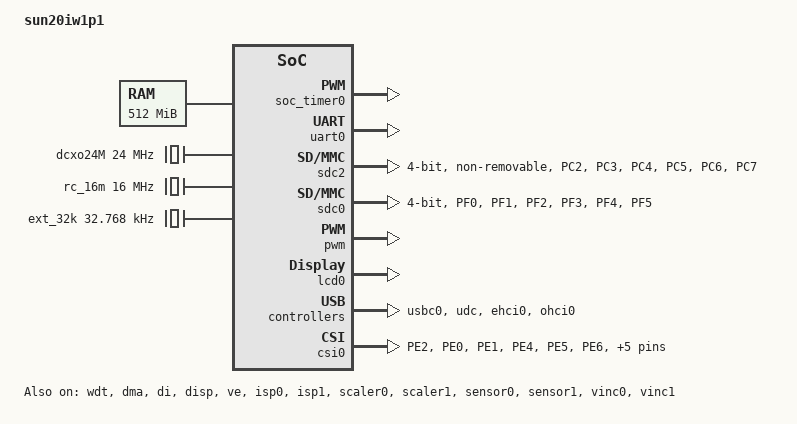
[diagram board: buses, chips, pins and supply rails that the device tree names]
// SPDX-License-Identifier: (GPL-2.0+ or MIT)
#include <dt-bindings/clock/sun8iw20-ccu.h>
#include <dt-bindings/clock/sun8iw20-r-ccu.h>
#include <dt-bindings/clock/sun8iw20-rtc.h>
#include <dt-bindings/reset/sun8iw20-ccu.h>
#include <dt-bindings/reset/sun8iw20-r-ccu.h>
#include <dt-bindings/gpio/gpio.h>
#include <dt-bindings/interrupt-controller/irq.h>
#include <dt-bindings/gpio/sun4i-gpio.h>
#include <dt-bindings/thermal/thermal.h>
#include <dt-bindings/spi/sunxi-spi.h>

/ {
	model = "sun20iw1p1";
	compatible = "allwinner,sun20iw1p1";
	#address-cells = <2>;
	#size-cells = <2>;

	aliases {
		serial0 = &uart0;
		serial1 = &uart1;
		serial2 = &uart2;
		serial3 = &uart3;
		serial4 = &uart4;
		serial5 = &uart5;
		sunxi-mmc0 = &sdc0;
		sunxi-mmc2 = &sdc2;
		pwm = &pwm;
		pwm0 = &pwm0;
		pwm1 = &pwm1;
		pwm2 = &pwm2;
		pwm3 = &pwm3;
		pwm4 = &pwm4;
		pwm5 = &pwm5;
		pwm6 = &pwm6;
		pwm7 = &pwm7;
		spi0 = &spi0;
		spi1 = &spi1;
		ir0 = &s_cir0;
		ir1 = &ir1;
		ve0 = &ve;
		twi0 = &twi0;
		twi1 = &twi1;
		twi2 = &twi2;
		twi3 = &twi3;
	} ;

	reserved-memory {
		#address-cells = <2>;
		#size-cells = <2>;
		ranges;

		opensbi {
			reg = <0x0 0x41fc0000 0x0 0x00040000>;
		};

		/*carveout {
			dma-buf;
			reg = <0x0 0x42000000 0x0 0x08000000>;
		};*/
	};

	/* avoid panic when memory-node err(from uboot) */
	memory@40000000 {
		device_type = "memory";
		reg = <0x00000000 0x40000000 0x00000000 0x20000000>;
	};

	cpus {
		#address-cells = <1>;
		#size-cells = <0>;
		timebase-frequency = <24000000>;

		cpu0: cpu@0 {
			device_type = "cpu";
			reg = <0x0>;
			status = "okay";
			compatible = "riscv";
			riscv,isa = "rv64imafdcvsu";
			mmu-type = "riscv,sv39";

			cpu0_intc: interrupt-controller {
				#interrupt-cells = <1>;
				compatible = "riscv,cpu-intc";
				interrupt-controller;
			};
		};
	};

	dcxo24M: dcxo24M_clk {
		#clock-cells = <0>;
		compatible = "fixed-clock";
		clock-frequency = <24000000>;
		clock-output-names = "dcxo24M";
	};

	rc_16m: rc16m_clk {
		#clock-cells = <0>;
		compatible = "fixed-clock";
		clock-frequency = <16000000>;
		clock-accuracy = <300000000>;
		clock-output-names = "rc-16m";
	};

	ext_32k: ext32k_clk {
		#clock-cells = <0>;
		compatible = "fixed-clock";
		clock-frequency = <32768>;
		clock-output-names = "ext-32k";
	};

	soc: soc@3000000 {
		#address-cells = <2>;
		#size-cells = <2>;
		compatible = "simple-bus";
		ranges;
		device_type = "soc";
		dma-noncoherent;

		sid@3006000 {
			compatible = "allwinner,sunxi-sid";
			reg = <0x0 0x03006000 0 0x1000>;
			#address-cells = <1>;
			#size-cells = <1>;
			non-secure-maxoffset = <0x40>;
			non-secure-maxlen = <0x10>;

			secure_status {
				offset = <0xa0>;
				size = <0x4>;
			};
			rotpk {
				offset = <0x140>;
				size = <0x4>;
			};
			chipid {
				offset = <0x200>;
				size = <0x10>;
			};
		};

		sram_ctrl: sram_ctrl@3000000 {
			compatible = "allwinner,sram_ctrl";
			reg = <0x0 0x03000000 0 0x1000>;
			soc_ver {
				offset = <0x24>;
				mask = <0x7>;
				shift = <0>;
			};
		};

		rtc_ccu: rtc_ccu@7090000 {
			compatible = "allwinner,sun20iw1-rtc-ccu";
			device_type = "rtc-ccu";
			reg = <0x0 0x07090000 0x0 0x320>;  /* The same as rtc */
			#clock-cells = <1>;
		};

		ccu: clock@2001000 {
			compatible = "allwinner,sun20iw1-ccu";
			reg = <0x0 0x02001000 0x0 0x1000>;
			clocks = <&dcxo24M>, <&rtc_ccu CLK_OSC32K>, <&rtc_ccu CLK_IOSC>;
			clock-names = "hosc", "losc", "iosc";
			#clock-cells = <1>;
			#reset-cells = <1>;
		};

		r_ccu: clock@7010000 {
			compatible = "allwinner,sun20iw1-r-ccu";
			reg = <0x0 0x07010000 0x0 0x240>;
			clocks = <&dcxo24M>, <&rtc_ccu CLK_OSC32K>, <&rtc_ccu CLK_IOSC>,
				 <&ccu CLK_PLL_PERIPH0>;
			clock-names = "hosc", "losc", "iosc", "pll-periph0";
			#clock-cells = <1>;
			#reset-cells = <1>;
		};

		soc_timer0: timer@3008000 {
			compatible = "allwinner,hstimer-v100";
			device_type = "soc_timer";
			reg = <0x0 0x3008000 0x0 0x400>;
			interrupts-extended = <&plic0 71 IRQ_TYPE_LEVEL_HIGH>;
			clocks = <&dcxo24M>, <&ccu CLK_BUS_HSTIMER>;
			clock-names = "parent", "bus";
			resets = <&ccu RST_BUS_HSTIMER>;
		};

		dump_reg: dump_reg@20000 {
			compatible = "allwinner,sunxi-dump-reg";
			reg = <0x0 0x000020000 0x0 0x0004>;
		};

		plic0: interrupt-controller@10000000 {
			compatible = "riscv,plic0";
			#address-cells = <2>;
			#interrupt-cells = <2>;
			interrupt-controller;
			reg = <0x0 0x10000000 0x0 0x4000000>;
			interrupts-extended = <&cpu0_intc 0xffffffff &cpu0_intc 9>;
			reg-names = "control";
			riscv,max-priority = <7>;
			riscv,ndev=<200>;
		};

		uart0: uart@2500000 {
			compatible = "allwinner,sun20i-uart";
			device_type = "uart0";
			reg = <0x0 0x02500000 0x0 0x400>;
			interrupts-extended = <&plic0 18 IRQ_TYPE_LEVEL_HIGH>;
			clocks = <&ccu CLK_BUS_UART0>;
			resets = <&ccu RST_BUS_UART0>;
			sunxi,uart-fifosize = <64>;
			uart0_port = <0>;
			uart0_type = <2>;
		};

		uart1: uart@2500400 {
			compatible = "allwinner,sun20i-uart";
			device_type = "uart1";
			reg = <0x0 0x02500400 0x0 0x400>;
			interrupts-extended = <&plic0 19 IRQ_TYPE_LEVEL_HIGH>;
			sunxi,uart-fifosize = <256>;
			clocks = <&ccu CLK_BUS_UART1>;
			resets = <&ccu RST_BUS_UART1>;
			uart1_port = <1>;
			uart1_type = <4>;
			status = "disabled";
		};

		uart2: uart@2500800 {
			compatible = "allwinner,sun20i-uart";
			device_type = "uart2";
			reg = <0x0 0x02500800 0x0 0x400>;
			interrupts-extended = <&plic0 20 IRQ_TYPE_LEVEL_HIGH>;
			sunxi,uart-fifosize = <256>;
			clocks = <&ccu CLK_BUS_UART2>;
			resets = <&ccu RST_BUS_UART2>;
			uart2_port = <2>;
			uart2_type = <4>;
			status = "disabled";
		};

		uart3: uart@2500c00 {
			compatible = "allwinner,sun20i-uart";
			device_type = "uart3";
			reg = <0x0 0x02500c00 0x0 0x400>;
			interrupts-extended = <&plic0 21 IRQ_TYPE_LEVEL_HIGH>;
			sunxi,uart-fifosize = <256>;
			clocks = <&ccu CLK_BUS_UART3>;
			resets = <&ccu RST_BUS_UART3>;
			uart3_port = <3>;
			uart3_type = <4>;
			status = "disabled";
		};

		uart4: uart@2501000 {
			compatible = "allwinner,sun20i-uart";
			device_type = "uart4";
			reg = <0x0 0x02501000 0x0 0x400>;
			interrupts-extended = <&plic0 22 IRQ_TYPE_LEVEL_HIGH>;
			sunxi,uart-fifosize = <256>;
			clocks = <&ccu CLK_BUS_UART4>;
			resets = <&ccu RST_BUS_UART4>;
			uart4_port = <4>;
			uart4_type = <2>;
			status = "disabled";
		};

		uart5: uart@2501400 {
			compatible = "allwinner,sun20i-uart";
			device_type = "uart5";
			reg = <0x0 0x02501400 0x0 0x400>;
			interrupts-extended = <&plic0 23 IRQ_TYPE_LEVEL_HIGH>;
			sunxi,uart-fifosize = <256>;
			clocks = <&ccu CLK_BUS_UART5>;
			resets = <&ccu RST_BUS_UART5>;
			uart5_port = <5>;
			uart5_type = <2>;
			status = "disabled";
		};

		rtc: rtc@7090000 {
			compatible = "allwinner,rtc-v201";
			device_type = "rtc";
			wakeup-source;
			reg = <0x0 0x07090000 0x0 0x320>;
			interrupts-extended = <&plic0 144 IRQ_TYPE_LEVEL_HIGH>;
			clocks = <&r_ccu CLK_R_AHB_BUS_RTC>, <&rtc_ccu CLK_RTC_1K>, <&rtc_ccu CLK_RTC_SPI>;
			clock-names = "r-ahb-rtc", "rtc-1k", "rtc-spi";
			resets = <&r_ccu RST_R_AHB_BUS_RTC>;
			gpr_cur_pos = <6>;
			gpr_bootcount_pos = <7>;
		};

		pio: pinctrl@2000000 {
			compatible = "allwinner,sun20iw1-pinctrl";
			reg = <0x0 0x02000000 0x0 0x500>;
			interrupts-extended = <&plic0 85 IRQ_TYPE_LEVEL_HIGH>,
				     <&plic0 87 IRQ_TYPE_LEVEL_HIGH>,
				     <&plic0 89 IRQ_TYPE_LEVEL_HIGH>,
				     <&plic0 91 IRQ_TYPE_LEVEL_HIGH>,
				     <&plic0 93 IRQ_TYPE_LEVEL_HIGH>,
				     <&plic0 95 IRQ_TYPE_LEVEL_HIGH>;
			clocks = <&ccu CLK_APB0>, <&dcxo24M>, <&rtc_ccu CLK_OSC32K>;
			clock-names = "apb", "hosc", "losc";
			gpio-controller;
			#gpio-cells = <3>;
			interrupt-controller;
			#interrupt-cells = <3>;
			#size-cells = <0>;

			sdc0_pins_a: sdc0@0 {
				pins = "PF0", "PF1", "PF2",
						"PF3", "PF4", "PF5";
				function = "sdc0";
				drive-strength = <40>;
				bias-pull-up;
				power-source = <3300>;
			};

			sdc0_pins_b: sdc0@1 {
				pins = "PF0", "PF1", "PF2",
						"PF3", "PF4", "PF5";
				function = "sdc0";
				drive-strength = <40>;
				bias-pull-up;
				power-source = <1800>;
			};

			sdc0_pins_c: sdc0@2 {
				pins = "PF0", "PF1", "PF2",
						"PF3", "PF4", "PF5";
				function = "gpio_in";
				power-source = <3300>;
			};

			/* TODO: add jtag pin */
			sdc0_pins_d: sdc0@3 {
				pins = "PF2", "PF4";
				function = "uart0";
				drive-strength = <10>;
				bias-pull-up;
				power-source = <3300>;
			};

			sdc0_pins_e: sdc0@4 {
				pins = "PF0", "PF1", "PF3",
						"PF5";
				function = "jtag";
				drive-strength = <10>;
				bias-pull-up;
				power-source = <3300>;
			};

			sdc1_pins_a: sdc1@0 {
				pins = "PG0", "PG1", "PG2",
						"PG3", "PG4", "PG5";
				function = "sdc1";
				drive-strength = <40>;
				bias-pull-up;
			};

			sdc1_pins_b: sdc1@1 {
				pins = "PG0", "PG1", "PG2",
						"PG3", "PG4", "PG5";
				function = "gpio_in";
			};

			sdc2_pins_a: sdc2@0 {
				pins = "PC2", "PC3", "PC4",
						"PC5", "PC6", "PC7";
				function = "sdc2";
				drive-strength = <40>;
				bias-pull-up;
			};

			sdc2_pins_b: sdc2@1 {
				pins = "PC2", "PC3", "PC4",
						"PC5", "PC6", "PC7";
				function = "gpio_in";
			};

			csi_mclk0_pins_a: csi_mclk0@0 {
				pins = "PE3";
				function = "csi0";
				drive-strength = <10>;
			};

			csi_mclk0_pins_b: csi_mclk0@1 {
				pins = "PE3";
				function = "gpio_in";
			};

			csi0_pins_a: csi0@0 {
				pins = "PE2", "PE0", "PE1", "PE4", "PE5",
						 "PE6", "PE7", "PE8", "PE9", "PE10", "PE11";
				function = "ncsi0";
				drive-strength = <10>;
			};

			csi0_pins_b: csi0@1 {
				pins = "PE2", "PE0", "PE1", "PE4", "PE5",
						 "PE6", "PE7", "PE8", "PE9", "PE10", "PE11";
				function = "io_disabled";
				drive-strength = <10>;
			};

			lvds0_pins_a: lvds0@0 {
				pins  = "PD0", "PD1", "PD2", "PD3", "PD4", "PD5", "PD6", "PD7", "PD8", "PD9";
				function = "lvds0";
				drive-strength = <30>;
				bias-disable;
			};

			lvds0_pins_b: lvds0@1 {
				pins  = "PD0", "PD1", "PD2", "PD3", "PD4", "PD5", "PD6", "PD7", "PD8", "PD9";
				function = "io_disabled";
				drive-strength = <30>;
				bias-disable;
			};

			lvds1_pins_a: lvds1@0 {
				pins  = "PD10", "PD11", "PD12", "PD13", "PD14", "PD15", "PD16", "PD17", "PD18", "PD19";
				function = "lvds1";
				drive-strength = <30>;
				bias-disable;
			};

			lvds1_pins_b: lvds1@1 {
				pins  = "PD10", "PD11", "PD12", "PD13", "PD14", "PD15", "PD16", "PD17", "PD18", "PD19";
				function = "io_disabled";
				drive-strength = <30>;
				bias-disable;
			};

		};

		wdt: watchdog@20500a0 {
			compatible = "allwinner,sun6i-a31-wdt";
			reg = <0x0 0x20500a0 0x0 0x20>;  /* In Timers Spec */
			status = "okay";
		};

		mbus0:mbus-comtroller@3102000 {
			compatible = "allwinner,sun8iw20-mbus";
			reg = <0x0 0x03102000 0x0 0x1000>;
			#mbus-cells = <1>;
		};

		dma:dma-controller@3002000 {
			compatible = "allwinner,dma-v100";
			reg = <0x0 0x03002000 0x0 0x1000>;
			interrupts-extended = <&plic0 66 IRQ_TYPE_LEVEL_HIGH>;
			clocks = <&ccu CLK_BUS_DMA>, <&ccu CLK_MBUS_DMA>;
			clock-names = "bus", "mbus";
			resets = <&ccu RST_BUS_DMA>;
			dma-channels = <16>;
			dma-requests = <48>;
			#dma-cells = <1>;
			status = "okay";
		};

		di: deinterlace@5400000 {
			compatible = "allwinner,sunxi-deinterlace";
			reg = <0x0 0x05400000 0x0 0x0000ffff>;
			interrupts-extended = <&plic0 104 IRQ_TYPE_LEVEL_HIGH>;
			clocks = <&ccu CLK_DI>, <&ccu CLK_BUS_DI>, <&ccu CLK_PLL_PERIPH0_2X>;
			clock-names = "clk_di", "clk_bus_di", "pll_periph";
			clock-frequency = <300000000>;
			resets = <&ccu RST_BUS_DI>;
			reset-names = "rst_bus_di";

			status = "okay";
		};

		sdc2: sdmmc@4022000 {
			compatible = "allwinner,sunxi-mmc-v4p6x";
			device_type = "sdc2";
			reg = <0x0 0x04022000 0x0 0x1000>;
			interrupts-extended = <&plic0 58 IRQ_TYPE_LEVEL_HIGH>;
			clocks = <&dcxo24M>,
				 <&ccu CLK_PLL_PERIPH0_2X>,
				 <&ccu CLK_MMC2>,
				 <&ccu CLK_BUS_MMC2>;
			clock-names = "osc24m","pll_periph","mmc","ahb";
			resets = <&ccu RST_BUS_MMC2>;
			reset-names = "rst";
			pinctrl-names = "default","sleep";
			pinctrl-0 = <&sdc2_pins_a>;
			pinctrl-1 = <&sdc2_pins_b>;
			bus-width = <4>;
			req-page-count = <2>;
			cap-mmc-highspeed;
			cap-cmd23;
			mmc-cache-ctrl;
			non-removable;
			/*max-frequency = <200000000>;*/
			max-frequency = <50000000>;
			cap-erase;
			mmc-high-capacity-erase-size;
			no-sdio;
			no-sd;
			/*-- speed mode --*/
			/*sm0: DS26_SDR12*/
			/*sm1: HSSDR52_SDR25*/
			/*sm2: HSDDR52_DDR50*/
			/*sm3: HS200_SDR104*/
			/*sm4: HS400*/
			/*-- frequency point --*/
			/*f0: CLK_400K*/
			/*f1: CLK_25M*/
			/*f2: CLK_50M*/
			/*f3: CLK_100M*/
			/*f4: CLK_150M*/
			/*f5: CLK_200M*/

			sdc_tm4_sm0_freq0 = <0>;
			sdc_tm4_sm0_freq1 = <0>;
			sdc_tm4_sm1_freq0 = <0x00000000>;
			sdc_tm4_sm1_freq1 = <0>;
			sdc_tm4_sm2_freq0 = <0x00000000>;
			sdc_tm4_sm2_freq1 = <0>;
			sdc_tm4_sm3_freq0 = <0x05000000>;
			sdc_tm4_sm3_freq1 = <0x00000005>;
			sdc_tm4_sm4_freq0 = <0x00050000>;
			sdc_tm4_sm4_freq1 = <0x00000004>;
			sdc_tm4_sm4_freq0_cmd = <0>;
			sdc_tm4_sm4_freq1_cmd = <0>;

			/*vmmc-supply = <&reg_3p3v>;*/
			/*vqmc-supply = <&reg_3p3v>;*/
			/*vdmc-supply = <&reg_3p3v>;*/
			/*vmmc = "vcc-card";*/
			/*vqmc = "";*/
			/*vdmc = "";*/
			/*sunxi-power-save-mode;*/
		};

		sdc0: sdmmc@4020000 {
			compatible = "allwinner,sunxi-mmc-v5p3x";
			device_type = "sdc0";
			reg = <0x0 0x04020000 0x0 0x1000>;
			interrupts-extended = <&plic0 56 IRQ_TYPE_LEVEL_HIGH>;
			clocks = <&dcxo24M>,
				 <&ccu CLK_PLL_PERIPH0_2X>,
				 <&ccu CLK_MMC0>,
				 <&ccu CLK_BUS_MMC0>;
			clock-names = "osc24m","pll_periph","mmc","ahb";
			resets = <&ccu RST_BUS_MMC0>;
			reset-names = "rst";
			pinctrl-names = "default","mmc_1v8","sleep","uart_jtag";
			pinctrl-0 = <&sdc0_pins_a>;
			pinctrl-1 = <&sdc0_pins_b>;
			pinctrl-2 = <&sdc0_pins_c>;
			pinctrl-3 = <&sdc0_pins_d &sdc0_pins_e>;
			max-frequency = <50000000>;
			bus-width = <4>;
			req-page-count = <2>;
			/*non-removable;*/
			/*broken-cd;*/
			/*cd-inverted*/
			/*cd-gpios = <&pio PF 6 GPIO_ACTIVE_LOW>;*/
			/* vmmc-supply = <&reg_3p3v>;*/
			/* vqmc-supply = <&reg_3p3v>;*/
			/* vdmc-supply = <&reg_3p3v>;*/
			/*vmmc = "vcc-card";*/
			/*vqmc = "";*/
			/*vdmc = "";*/
			cap-sd-highspeed;
			cap-wait-while-busy;
			no-sdio;
			no-mmc;
			/*sd-uhs-sdr50;*/
			/*sd-uhs-ddr50;*/
			/*cap-sdio-irq;*/
			/*keep-power-in-suspend;*/
			/*ignore-pm-notify;*/
			/*sunxi-power-save-mode;*/
			/*sunxi-dly-400k = <1 0 0 0>; */
			/*sunxi-dly-26M  = <1 0 0 0>;*/
			/*sunxi-dly-52M  = <1 0 0 0>;*/
			/*sunxi-dly-52M-ddr4  = <1 0 0 0>;*/
			/*sunxi-dly-52M-ddr8  = <1 0 0 0>;*/
			/*sunxi-dly-104M  = <1 0 0 0>;*/
			/*sunxi-dly-208M  = <1 0 0 0>;*/
			/*sunxi-dly-104M-ddr  = <1 0 0 0>;*/
			/*sunxi-dly-208M-ddr  = <1 0 0 0>;*/

			status = "okay";
		};

		sdc1: sdmmc@4021000 {
			compatible = "allwinner,sunxi-mmc-v5p3x";
			device_type = "sdc1";
			reg = <0x0 0x04021000 0x0 0x1000>;
			interrupts-extended = <&plic0 57 IRQ_TYPE_LEVEL_HIGH>;
			clocks = <&dcxo24M>,
				 <&ccu CLK_PLL_PERIPH0_2X>,
				 <&ccu CLK_MMC1>,
				 <&ccu CLK_BUS_MMC1>;
			clock-names = "osc24m","pll_periph","mmc","ahb";
			resets = <&ccu RST_BUS_MMC1>;
			reset-names = "rst";
			pinctrl-names = "default","sleep";
			pinctrl-0 = <&sdc1_pins_a>;
			pinctrl-1 = <&sdc1_pins_b>;
			max-frequency = <50000000>;
			bus-width = <4>;
			/*broken-cd;*/
			/*cd-inverted*/
			/*cd-gpios = <&pio PG 6 6 1 2 0>;*/
			/* vmmc-supply = <&reg_3p3v>;*/
			/* vqmc-supply = <&reg_3p3v>;*/
			/* vdmc-supply = <&reg_3p3v>;*/
			/*vmmc = "vcc-card";*/
			/*vqmc = "";*/
			/*vdmc = "";*/
			cap-sd-highspeed;
			no-mmc;
			/*sd-uhs-sdr50;*/
			/*sd-uhs-ddr50;*/
			/*sd-uhs-sdr104;*/
			/*cap-sdio-irq;*/
			keep-power-in-suspend;
			/*ignore-pm-notify;*/
			/*sunxi-power-save-mode;*/
			/*sunxi-dly-400k = <1 0 0 0 0>; */
			/*sunxi-dly-26M  = <1 0 0 0 0>;*/
			/*sunxi-dly-52M  = <1 0 0 0 0>;*/
			sunxi-dly-52M-ddr4  = <1 0 0 0 2>;
			/*sunxi-dly-52M-ddr8  = <1 0 0 0 0>;*/
			sunxi-dly-104M  = <1 0 0 0 1>;
			/*sunxi-dly-208M  = <1 1 0 0 0>;*/
			sunxi-dly-208M  = <1 0 0 0 1>;
			/*sunxi-dly-104M-ddr  = <1 0 0 0 0>;*/
			/*sunxi-dly-208M-ddr  = <1 0 0 0 0>;*/

			status = "disabled";
		};

		pwm: pwm@2000c00 {
			#pwm-cells = <0x3>;
			compatible = "allwinner,sunxi-pwm";
			reg = <0x0 0x02000c00 0x0 0x400>;
			interrupts-extended = <&plic0 34 IRQ_TYPE_LEVEL_HIGH>;
			clocks = <&ccu CLK_BUS_PWM>;
			resets = <&ccu RST_BUS_PWM>;
			pwm-number = <8>;
			pwm-base = <0x0>;
			sunxi-pwms = <&pwm0>, <&pwm1>, <&pwm2>, <&pwm3>, <&pwm4>,
				<&pwm5>, <&pwm6>, <&pwm7>;
			status = "okay";
		};

		pwm0: pwm0@2000c10 {
			compatible = "allwinner,sunxi-pwm0";
			reg = <0x0 0x02000c10 0x0 0x4>;
			reg_base = <0x02000c00>;
			status = "disabled";
		};

		pwm1: pwm1@2000c11 {
			compatible = "allwinner,sunxi-pwm1";
			reg = <0x0 0x02000c11 0x0 0x4>;
			reg_base = <0x02000c00>;
			status = "disabled";
		};

		pwm2: pwm2@2000c12 {
			compatible = "allwinner,sunxi-pwm2";
			reg = <0x0 0x02000c12 0x0 0x4>;
			reg_base = <0x02000c00>;
			status = "disabled";
		};

		pwm3: pwm3@2000c13 {
			compatible = "allwinner,sunxi-pwm3";
			reg = <0x0 0x02000c13 0x0 0x4>;
			reg_base = <0x02000c00>;
			status = "disabled";
		};

		pwm4: pwm4@2000c14 {
			compatible = "allwinner,sunxi-pwm4";
			reg = <0x0 0x02000c14 0x0 0x4>;
			reg_base = <0x02000c00>;
			status = "disabled";
		};

		pwm5: pwm5@2000c15 {
			compatible = "allwinner,sunxi-pwm5";
			reg = <0x0 0x02000c15 0x0 0x4>;
			reg_base = <0x02000c00>;
			status = "disabled";
		};

		pwm6: pwm6@2000c16 {
			compatible = "allwinner,sunxi-pwm6";
			reg = <0x0 0x02000c16 0x0 0x4>;
			reg_base = <0x02000c00>;
			status = "disabled";
		};

		pwm7: pwm7@2000c17 {
			compatible = "allwinner,sunxi-pwm7";
			reg = <0x0 0x02000c17 0x0 0x4>;
			reg_base = <0x02000c00>;
			status = "disabled";
		};

		spi0: spi@4025000 {
			#address-cells = <1>;
			#size-cells = <0>;
			compatible = "allwinner,sunxi-spi-v1.1";
			reg = <0x0 0x04025000 0x0 0x1000>;
			interrupts-extended = <&plic0 31 IRQ_TYPE_LEVEL_HIGH>;
			clocks = <&ccu CLK_PLL_PERIPH0>, <&ccu CLK_SPI0>, <&ccu CLK_BUS_SPI0>;
			clock-names = "pll", "mod", "bus";
			resets = <&ccu RST_BUS_SPI0>;
			dmas = <&dma 22>, <&dma 22>;
			dma-names = "tx", "rx";
			clock-frequency = <100000000>;
			sunxi,spi-num-cs = <2>;
			status = "disabled";
		};

		spi1: spi@4026000 {
			#address-cells = <1>;
			#size-cells = <0>;
			compatible = "allwinner,sunxi-spi-v1.2";
			reg = <0x0 0x04026000 0x0 0x1000>;
			interrupts-extended = <&plic0 32 IRQ_TYPE_LEVEL_HIGH>;
			clocks = <&ccu CLK_PLL_PERIPH0>, <&ccu CLK_SPI1>, <&ccu CLK_BUS_SPI1>;
			clock-names = "pll", "mod", "bus";
			resets = <&ccu RST_BUS_SPI1>;
			dmas = <&dma 23>, <&dma 23>;
			dma-names = "tx", "rx";
			clock-frequency = <100000000>;
			sunxi,spi-num-cs = <1>;
			status = "disabled";
		};

		twi0: twi@2502000 {
			#address-cells = <1>;
			#size-cells = <0>;
			compatible = "allwinner,sun20i-twi";
			device_type = "twi0";
			reg = <0x0 0x02502000 0x0 0x400>;
			interrupts-extended= <&plic0 25 IRQ_TYPE_LEVEL_HIGH>;
			clocks = <&ccu CLK_BUS_TWI0>;
			resets = <&ccu RST_BUS_TWI0>;
			clock-names = "bus";
			clock-frequency = <400000>;
			dmas = <&dma 43>, <&dma 43>;
			dma-names = "tx", "rx";
			status = "disabled";
		};

		twi1: twi@2502400 {
			#address-cells = <1>;
			#size-cells = <0>;
			compatible = "allwinner,sun20i-twi";
			device_type = "twi1";
			reg = <0x0 0x02502400 0x0 0x400>;
			interrupts-extended= <&plic0 26 IRQ_TYPE_LEVEL_HIGH>;
			clocks = <&ccu CLK_BUS_TWI1>;
			resets = <&ccu RST_BUS_TWI1>;
			clock-names = "bus";
			clock-frequency = <200000>;
			dmas = <&dma 44>, <&dma 44>;
			dma-names = "tx", "rx";
			status = "disabled";
		};

		twi2: twi@2502800 {
			#address-cells = <1>;
			#size-cells = <0>;
			compatible = "allwinner,sun20i-twi";
			device_type = "twi2";
			reg = <0x0 0x02502800 0x0 0x400>;
			interrupts-extended = <&plic0 27 IRQ_TYPE_LEVEL_HIGH>;
			clocks = <&ccu CLK_BUS_TWI2>;
			resets = <&ccu RST_BUS_TWI2>;
			clock-names = "bus";
			clock-frequency = <100000>;
			dmas = <&dma 45>, <&dma 45>;
			dma-names = "tx", "rx";
			status = "disabled";
		};

		twi3: twi@2502c00 {
			#address-cells = <1>;
			#size-cells = <0>;
			compatible = "allwinner,sun20i-twi";
			device_type = "twi3";
			reg = <0x0 0x02502c00 0x0 0x400>;
			interrupts-extended = <&plic0 28 IRQ_TYPE_LEVEL_HIGH>;
			clocks = <&ccu CLK_BUS_TWI3>;
			resets = <&ccu RST_BUS_TWI3>;
			clock-names = "bus";
			clock-frequency = <100000>;
			dmas = <&dma 46>, <&dma 46>;
			dma-names = "tx", "rx";
			status = "disabled";
		};

		disp: disp@5000000 {
			compatible = "allwinner,sunxi-disp";
			reg = <0x0 0x05000000 0x0 0x3fffff>,	/* de0 */
			      <0x0 0x05460000 0x0 0xfff>,	/*display_if_top*/
			      <0x0 0x05461000 0x0 0xfff>,	/* tcon-lcd0 */
			      <0x0 0x05470000 0x0 0xfff>,	/* tcon-tv */
			      <0x0 0x05450000 0x0 0x1fff>;	/* dsi0*/
/*			interrupts = <GIC_SPI 90 IRQ_TYPE_LEVEL_HIGH>,tcon-lcd0
				     <GIC_SPI 91 IRQ_TYPE_LEVEL_HIGH>,tcon-tv
				     <GIC_SPI 92 IRQ_TYPE_LEVEL_HIGH>;dsi*/
			interrupts-extended = <&plic0 106 IRQ_TYPE_LEVEL_HIGH>,
					      <&plic0 107 IRQ_TYPE_LEVEL_HIGH>,
					      <&plic0 108 IRQ_TYPE_LEVEL_HIGH>;

			clocks = <&ccu CLK_DE0>,
				 <&ccu CLK_DE0>,
				 <&ccu CLK_BUS_DE0>,
				 <&ccu CLK_BUS_DE0>,
				 <&ccu CLK_BUS_DPSS_TOP0>,
				 <&ccu CLK_BUS_DPSS_TOP0>,
				 <&ccu CLK_MIPI_DSI>,
				 <&ccu CLK_BUS_MIPI_DSI>,
				 <&ccu CLK_TCON_LCD0>,
				 <&ccu CLK_TCON_TV>,
				 <&ccu CLK_BUS_TCON_LCD0>,
				 <&ccu CLK_BUS_TCON_TV>,
				 <&ccu CLK_MIPI_DSI>,
				 <&ccu CLK_BUS_MIPI_DSI>;
			clock-names = "clk_de0",
					"clk_de1",
					"clk_bus_de0",
					"clk_bus_de1",
					"clk_bus_dpss_top0",
					"clk_bus_dpss_top1",
					"clk_mipi_dsi0",
					"clk_bus_mipi_dsi0",
					"clk_tcon0",
					"clk_tcon1",/*tcon-tv actually*/
					"clk_bus_tcon0",
					"clk_bus_tcon1",/*tcon-tv actually*/
					"clk_mipi_dsi0",
					"clk_bus_mipi_dsi0";
			resets = <&ccu RST_BUS_DE0>,
				 <&ccu RST_BUS_DE0>,
				 <&ccu RST_BUS_DPSS_TOP0>,
				 <&ccu RST_BUS_DPSS_TOP0>,
				 <&ccu RST_BUS_MIPI_DSI>,
				 <&ccu RST_BUS_TCON_LCD0>,
				 <&ccu RST_BUS_TCON_TV>,
				 <&ccu RST_BUS_LVDS0>;
			reset-names = "rst_bus_de0",
					"rst_bus_de1",
					"rst_bus_dpss_top0",
					"rst_bus_dpss_top1",
					"rst_bus_mipi_dsi0",
					"rst_bus_tcon0",
					"rst_bus_tcon1",
					"rst_bus_lvds0";

			assigned-clocks = <&ccu CLK_DE0>,
			<&ccu CLK_MIPI_DSI>,
			<&ccu CLK_TCON_LCD0>,
			<&ccu CLK_TCON_TV>;
			assigned-clock-parents = <&ccu CLK_PLL_PERIPH0_2X>,
			<&ccu CLK_PLL_PERIPH0>,
			<&ccu CLK_PLL_VIDEO0_4X>,
			<&ccu CLK_PLL_VIDEO1_4X>;
			assigned-clock-rates = <300000000>,
			<150000000>,
			<0>,
			<0>;

			boot_disp = <0>;
			boot_disp1 = <0>;
			boot_disp2 = <0>;
			fb_base = <0>;
			status = "okay";
		};

		lcd0: lcd0@1c0c000 {
			compatible = "allwinner,sunxi-lcd0";
			reg = <0x0 0x1c0c000 0x0 0x0>;  /* Fake registers to avoid dtc compiling warnings */
			pinctrl-names = "active","sleep";
			status = "okay";
		};

		g2d: g2d@5410000 {
			compatible = "allwinner,sunxi-g2d";
			reg = <0x0 0x05410000 0x0 0x3ffff>;
			/* interrupts = <GIC_SPI 89 IRQ_TYPE_LEVEL_HIGH>; */
			interrupts-extended = <&plic0 105 IRQ_TYPE_LEVEL_HIGH>;
			clocks = <&ccu CLK_BUS_G2D>, <&ccu CLK_G2D>, <&ccu CLK_MBUS_G2D>;
			clock-names = "bus", "g2d", "mbus_g2d";
			resets = <&ccu RST_BUS_G2D>;
			assigned-clocks = <&ccu CLK_G2D>;
			assigned-clock-rates = <300000000>;
		};

		s_cir0: s_cir@7040000 {
			compatible = "allwinner,irrx";
			reg = <0x0 0x07040000 0x0 0x400>;
			interrupts-extended = <&plic0 167 IRQ_TYPE_LEVEL_HIGH>;
			clocks = <&r_ccu CLK_R_APB0_BUS_IRRX>, <&dcxo24M>, <&r_ccu CLK_R_APB0_IRRX>;
			clock-names = "bus", "pclk", "mclk";
			resets = <&r_ccu RST_R_APB0_BUS_IRRX>;
			supply = "";
			supply_vol = "";
			status = "disabled";
		};

		ir1: ir@2003000 {
			compatible = "allwinner,irtx";
			reg = <0x0 0x02003000 0x0 0x400>;
			interrupts-extended = <&plic0 35 IRQ_TYPE_LEVEL_HIGH>;
			clocks = <&ccu CLK_BUS_IR_TX>, <&dcxo24M>, <&ccu CLK_IR_TX>;
			clock-names = "bus", "pclk", "mclk";
			resets = <&ccu RST_BUS_IR_TX>;
			status = "disabled";
		};

		usbc0:usbc0@0 {
			device_type = "usbc0";
			compatible = "allwinner,sunxi-otg-manager";
			usb_port_type = <2>;
			usb_detect_type = <1>;
			usb_id_gpio;
			usb_det_vbus_gpio;
			usb_regulator_io = "nocare";
			usb_wakeup_suspend = <0>;
			usb_luns = <3>;
			usb_serial_unique = <0>;
			usb_serial_number = "20080411";
			rndis_wceis = <1>;
			status = "okay";
		};

		udc:udc-controller@0x04100000 {
			compatible = "allwinner,sunxi-udc";
			reg = <0x0 0x04100000 0x0 0x1000>, /*udc base*/
			      <0x0 0x00000000 0x0 0x100>; /*sram base*/
			interrupts-extended = <&plic0 45 IRQ_TYPE_LEVEL_HIGH>;
			clocks = <&ccu CLK_BUS_OTG>;
			clock-names = "bus_otg";
			resets = <&ccu RST_BUS_OTG>, <&ccu RST_USB_PHY0>;
			reset-names = "otg", "phy";
			status = "okay";
		};

		ehci0:ehci0-controller@0x04101000 {
			compatible = "allwinner,sunxi-ehci0";
			reg = <0x0 0x04101000 0x0 0xFFF>, /*hci0 base*/
			      <0x0 0x00000000 0x0 0x100>, /*sram base*/
			      <0x0 0x04100000 0x0 0x1000>; /*otg base*/
			interrupts-extended = <&plic0 46 IRQ_TYPE_LEVEL_HIGH>;
			clocks = <&ccu CLK_BUS_EHCI0>;
			clock-names = "bus_hci";
			resets = <&ccu RST_BUS_EHCI0>, <&ccu RST_USB_PHY0>;
			reset-names = "hci", "phy";
			hci_ctrl_no = <0>;
			status = "okay";
		};

		ohci0:ohci0-controller@0x04101400 {
			compatible = "allwinner,sunxi-ohci0";
			reg = <0x0 0x04101400 0x0 0xFFF>, /*hci0 base*/
			      <0x0 0x00000000 0x0 0x100>, /*sram base*/
			      <0x0 0x04100000 0x0 0x1000>; /*otg base*/
			interrupts-extended = <&plic0 47 IRQ_TYPE_LEVEL_HIGH>;
			clocks = <&ccu CLK_BUS_OHCI0>, <&ccu CLK_USB_OHCI0>;
			clock-names = "bus_hci", "ohci";
			resets = <&ccu RST_BUS_OHCI0>, <&ccu RST_USB_PHY0>;
			reset-names = "hci", "phy";
			hci_ctrl_no = <0>;
			status = "okay";
		};

		usbc1:usbc1@0 {
			device_type = "usbc1";
			usb_regulator_io = "nocare";
			usb_wakeup_suspend = <0>;
			status = "disable";
		};

		ehci1:ehci1-controller@0x04200000 {
			compatible = "allwinner,sunxi-ehci1";
			reg = <0x0 0x04200000 0x0 0xFFF>, /*ehci1 base*/
			      <0x0 0x00000000 0x0 0x100>, /*sram base*/
			      <0x0 0x04100000 0x0 0x1000>; /*otg base*/
			interrupts-extended = <&plic0 49 IRQ_TYPE_LEVEL_HIGH>;
			clocks = <&ccu CLK_BUS_EHCI1>;
			clock-names = "bus_hci";
			resets = <&ccu RST_BUS_EHCI1>, <&ccu RST_USB_PHY1>;
			reset-names = "hci", "phy";
			hci_ctrl_no = <1>;
			status = "disable";
		};

		ohci1:ohci1-controller@0x04200400 {
			compatible = "allwinner,sunxi-ohci1";
			reg = <0x0 0x04200400 0x0 0xFFF>, /*ohci1 base*/
			      <0x0 0x00000000 0x0 0x100>, /*sram base*/
			      <0x0 0x04100000 0x0 0x1000>; /*otg base*/
			interrupts-extended = <&plic0 50 IRQ_TYPE_LEVEL_HIGH>;
			clocks = <&ccu CLK_BUS_OHCI1>, <&ccu CLK_USB_OHCI1>;
			clock-names = "bus_hci", "ohci";
			resets = <&ccu RST_BUS_OHCI1>, <&ccu RST_USB_PHY1>;
			reset-names = "hci", "phy";
			hci_ctrl_no = <1>;
			status = "disable";
		};
		ve: ve@1c0e000 {
			compatible = "allwinner,sunxi-cedar-ve";
			reg = <0x0 0x01c0e000 0x0 0x1000>,
			      <0x0 0x03000000 0x0 0x10>,
			      <0x0 0x03001000 0x0 0x1000>;
			interrupts-extended = <&plic0 82 IRQ_TYPE_LEVEL_HIGH>;
			clocks = <&ccu CLK_BUS_VE>, <&ccu CLK_VE>, <&ccu CLK_MBUS_VE>;
			clock-names = "bus_ve", "ve", "mbus_ve";
			resets = <&ccu RST_BUS_VE>;
			status = "okay";
		};
		/* audio dirver module -> I2S/PCM */
		i2s0_plat:i2s0_plat@2032000 {
			#sound-dai-cells = <0>;
			compatible = "allwinner,sunxi-snd-plat-i2s";
			reg= <0x0 0x02032000 0x0 0xA0>;
			resets = <&ccu RST_BUS_I2S0>;
			clocks = <&ccu CLK_PLL_AUDIO0>,
				 <&ccu CLK_PLL_AUDIO1_DIV5>,
				 <&ccu CLK_I2S0>,
				 <&ccu CLK_BUS_I2S0>;
			clock-names	= "clk_pll_audio0",
					  "clk_pll_audio1_div5",
					  "clk_i2s",
					  "clk_bus_i2s";
			dmas		= <&dma 3>, <&dma 3>;
			dma-names	= "tx", "rx";
			playback-cma	= <128>;
			capture-cma	= <128>;
			tx-fifo-size	= <128>;
			rx-fifo-size	= <128>;
			status = "disabled";
		};

		i2s0_mach:i2s0_mach{
			compatible = "allwinner,sunxi-snd-mach";
			soundcard-mach,name		= "sndi2s0";
			soundcard-mach,format		= "i2s";
			soundcard-mach,slot-num		= <2>;
			soundcard-mach,slot-width	= <32>;
			status = "disabled";
			soundcard-mach,cpu {
				sound-dai = <&i2s0_plat>;
			};
			soundcard-mach,codec {
			};
		};

		i2s1_plat:i2s1_plat@2033000 {
			#sound-dai-cells = <0>;
			compatible = "allwinner,sunxi-snd-plat-i2s";
			reg= <0x0 0x02033000 0x0 0xA0>;
			resets = <&ccu RST_BUS_I2S1>;
			clocks = <&ccu CLK_PLL_AUDIO0>,
				 <&ccu CLK_PLL_AUDIO1_DIV5>,
				 <&ccu CLK_I2S1>,
				 <&ccu CLK_BUS_I2S1>;
			clock-names	= "clk_pll_audio0",
					  "clk_pll_audio1_div5",
					  "clk_i2s",
					  "clk_bus_i2s";
			dmas		= <&dma 4>, <&dma 4>;
			dma-names	= "tx", "rx";
			playback-cma	= <128>;
			capture-cma	= <128>;
			tx-fifo-size	= <128>;
			rx-fifo-size	= <128>;
			status = "disabled";
		};

		i2s1_mach:i2s1_mach{
			compatible = "allwinner,sunxi-snd-mach";
			soundcard-mach,name		= "sndi2s1";
			soundcard-mach,format		= "i2s";
			soundcard-mach,slot-num		= <2>;
			soundcard-mach,slot-width	= <32>;
			status = "disabled";
			soundcard-mach,cpu {
				sound-dai = <&i2s1_plat>;
			};
			soundcard-mach,codec {
			};
		};

		i2s2_plat:i2s2_plat@2034000 {
			#sound-dai-cells = <0>;
			compatible = "allwinner,sunxi-snd-plat-i2s";
			reg= <0x0 0x02034000 0x0 0xA0>;
			resets = <&ccu RST_BUS_I2S2>;
			clocks = <&ccu CLK_PLL_AUDIO0>,
				 <&ccu CLK_PLL_AUDIO1_DIV5>,
				 <&ccu CLK_I2S2>,
				 <&ccu CLK_BUS_I2S2>;
			clock-names	= "clk_pll_audio0",
					  "clk_pll_audio1_div5",
					  "clk_i2s",
					  "clk_bus_i2s";
			dmas		= <&dma 5>, <&dma 5>;
			dma-names	= "tx", "rx";
			playback-cma	= <128>;
			capture-cma	= <128>;
			tx-fifo-size	= <128>;
			rx-fifo-size	= <128>;
			status = "disabled";
		};

		i2s2_mach:i2s2_mach{
			compatible = "allwinner,sunxi-snd-mach";
			soundcard-mach,name		= "sndi2s2";
			soundcard-mach,format		= "i2s";
			soundcard-mach,slot-num		= <2>;
			soundcard-mach,slot-width	= <32>;
			status = "disabled";
			soundcard-mach,cpu {
				sound-dai = <&i2s2_plat>;
			};
			soundcard-mach,codec {
			};
		};

		/* audio dirver module -> audio codec */
		codec:codec@2030000 {
			#sound-dai-cells = <0>;
			compatible	= "allwinner,sunxi-snd-codec";
			reg		= <0x0 0x02030000 0x0 0x34c>;
			resets = <&ccu RST_BUS_AUDIO_CODEC>;
			clocks = <&ccu CLK_PLL_AUDIO0>,
				 <&ccu CLK_PLL_AUDIO1_DIV5>,
				 <&ccu CLK_AUDIO_DAC>,
				 <&ccu CLK_AUDIO_ADC>,
				 <&ccu CLK_BUS_AUDIO_CODEC>;
			clock-names	= "clk_pll_audio0",
					  "clk_pll_audio1_div5",
					  "clk_audio_dac",
					  "clk_audio_adc",
					  "clk_bus_audio";
			interrupts-extended = <&plic0 41 IRQ_TYPE_LEVEL_HIGH>;
			status = "disabled";
		};

		codec_plat:codec_plat {
			#sound-dai-cells = <0>;
			compatible	= "allwinner,sunxi-snd-plat-aaudio";
			dac-txdata	= <0x02030020>;
			adc-txdata	= <0x02030040>;
			dmas		= <&dma 7>, <&dma 7>;
			dma-names	= "tx", "rx";
			playback-cma	= <128>;
			capture-cma	= <256>;
			tx-fifo-size	= <128>;
			rx-fifo-size	= <256>;
			status = "disabled";
		};

		codec_mach:codec_mach {
			compatible = "allwinner,sunxi-snd-mach";
			soundcard-mach,name		= "audiocodec";
			soundcard-mach,pin-switches = "MIC1", "MIC2","MIC3",
						      "FMINL", "FMINR",
						      "LINEINL", "LINEINR",
						      "LINEOUTL", "LINEOUTR",
						      "HPOUT", "SPK";
			soundcard-mach,routing = "MIC1_PIN", "MIC1",
						 "MIC2_PIN", "MIC2",
						 "MIC3_PIN", "MIC3",
						 "FMINL_PIN", "FMINL",
						 "FMINR_PIN", "FMINR",
						 "LINEINL_PIN", "LINEINL",
						 "LINEINR_PIN", "LINEINR",
						 "LINEOUTL", "LINEOUTL_PIN",
						 "LINEOUTR", "LINEOUTR_PIN",
						 "SPK", "LINEOUTL_PIN",
						 "SPK", "LINEOUTR_PIN",
						 "HPOUT", "HPOUTL_PIN",
						 "HPOUT", "HPOUTR_PIN";
			status = "disabled";
			soundcard-mach,cpu {
				sound-dai = <&codec_plat>;
			};
			soundcard-mach,codec {
				sound-dai = <&codec>;
			};
		};

		hdmi_codec:hdmi_codec {
			#sound-dai-cells = <0>;
			compatible	= "allwinner,sunxi-snd-codec-hdmi";
			status = "disabled";
		};

		/* audio dirver module -> dmic */
		dmic_plat:dmic_plat@2031000 {
			#sound-dai-cells = <0>;
			compatible	 = "allwinner,sunxi-snd-plat-dmic";
			reg		 = <0x0 0x02031000 0x0 0x50>;
			resets		 = <&ccu RST_BUS_DMIC>;
			clocks = <&ccu CLK_PLL_AUDIO0>,
				 <&ccu CLK_PLL_AUDIO1_DIV5>,
				 <&ccu CLK_DMIC>,
				 <&ccu CLK_BUS_DMIC>;
			clock-names	= "clk_pll_audio0",
					  "clk_pll_audio1_div5",
					  "clk_dmic",
					  "clk_bus_dmic";
			dmas		 = <&dma 8>;
			dma-names	 = "rx";
			capture-cma	 = <128>;
			rx-fifo-size	 = <128>;
			status		 = "disabled";
		};

		dmic_mach:dmic_mach{
			compatible = "allwinner,sunxi-snd-mach";
			soundcard-mach,name = "snddmic";
			soundcard-mach,capture-only;
			status = "disabled";
			soundcard-mach,cpu {
				sound-dai = <&dmic_plat>;
			};
			soundcard-mach,codec {
			};
		};

		/* audio dirver module -> owa */
		owa_plat:owa_plat@2036000 {
			#sound-dai-cells = <0>;
			compatible	 = "allwinner,sunxi-snd-plat-owa";
			reg		 = <0x0 0x02036000 0x0 0x58>;
			resets		 = <&ccu RST_BUS_OWA>;
			clocks 		 = <&ccu CLK_PLL_AUDIO0_4X>,	/* 90.3168M */
					   <&ccu CLK_OWA_TX>,
					   <&ccu CLK_BUS_OWA>,
					   <&ccu CLK_PLL_AUDIO1>,         /* 98.304M */
					   <&ccu CLK_PLL_AUDIO1_DIV5>,
					   <&ccu CLK_PLL_PERIPH0>,
					   <&ccu CLK_OWA_RX>;
			clock-names 	 = "clk_pll_audio0", "clk_owa_tx", "clk_bus_owa",
					   "clk_pll_audio1", "clk_pll_audio1_div5",
					   "clk_pll_periph0", "clk_owa_rx";
			dmas		 = <&dma 2>, <&dma 2>;
			dma-names	 = "tx", "rx";
			playback-cma	 = <128>;
			capture-cma	 = <128>;
			tx-fifo-size	 = <128>;
			rx-fifo-size	 = <128>;
			status		 = "disabled";
		};

		owa_mach:owa_mach {
			compatible = "allwinner,sunxi-snd-mach";
			soundcard-mach,name = "sndowa";
			status = "disabled";
			soundcard-mach,cpu {
				sound-dai = <&owa_plat>;
			};
			soundcard-mach,codec {
			};
		};
		/* audio new driver end */

		vind0: vind@5800800 {
			compatible = "allwinner,sunxi-vin-media", "simple-bus";
			#address-cells = <2>;
			#size-cells = <2>;
			ranges;
			device_id = <0>;
			csi_top = <336000000>;
			csi_isp = <327000000>;
			reg = <0x0 0x05800800 0x0 0x200>,
				<0x0 0x05800000 0x0 0x800>;
			clocks = <&ccu CLK_CSI_TOP>, <&ccu CLK_PLL_VIDEO1_2X>,
				<&ccu CLK_CSI0_MCLK>, <&dcxo24M>, <&ccu CLK_PLL_VIDEO1>,
				<&ccu CLK_BUS_CSI>, <&ccu CLK_MBUS_CSI>;
			clock-names = "csi_top", "csi_top_src",
					"csi_mclk0", "csi_mclk0_24m", "csi_mclk0_pll",
					"csi_bus", "csi_mbus";
			resets = <&ccu RST_BUS_CSI>;
			reset-names = "csi_ret";
			pinctrl-names = "mclk0-default", "mclk0-sleep";
			pinctrl-0 = <&csi_mclk0_pins_a>;
			pinctrl-1 = <&csi_mclk0_pins_b>;
			status = "okay";

			csi0: csi@5801000{
				compatible = "allwinner,sunxi-csi";
				reg = <0x0 0x05801000 0x0 0x1000>;
				interrupts-extended = <&plic0 116 IRQ_TYPE_LEVEL_HIGH>;
				pinctrl-names = "default","sleep";
				pinctrl-0 = <&csi0_pins_a>;
				pinctrl-1 = <&csi0_pins_b>;
				device_id = <0>;
				/* iommus = <&mmu_aw 1 1>; */
				status = "okay";
			};

			isp0: isp@5809410 {
				compatible = "allwinner,sunxi-isp";
				device_id = <0x0>;
				status = "okay";
			};

			isp1: isp@5809420 {
				compatible = "allwinner,sunxi-isp";
				device_id = <0x1>;
				status = "okay";
			};

			scaler0: scaler@5809430 {
				compatible = "allwinner,sunxi-scaler";
				device_id = <0x0>;
				status = "okay";
			};

			scaler1: scaler@5809440 {
				compatible = "allwinner,sunxi-scaler";
				device_id = <0x1>;
				status = "okay";
			};

			actuator0: actuator@5809450 {
				compatible = "allwinner,sunxi-actuator";
				device_type = "actuator0";
				reg = <0x0 0x05809450 0x0 0x10>;
				actuator0_name = "ad5820_act";
				actuator0_slave = <0x18>;
				actuator0_af_pwdn = <>;
				actuator0_afvdd = "afvcc-csi";
				actuator0_afvdd_vol = <2800000>;
				status = "disabled";
			};

			flash0: flash@5809460 {
				device_type = "flash0";
				compatible = "allwinner,sunxi-flash";
				reg = <0x0 0x05809460 0x0 0x10>;
				flash0_type = <2>;
				flash0_en = <>;
				flash0_mode = <>;
				flash0_flvdd = "";
				flash0_flvdd_vol = <>;
				device_id = <0>;
				status = "disabled";
			};

			sensor0: sensor@5809470 {
				reg = <0x0 0x05809470 0x0 0x10>;
				device_type = "sensor0";
				compatible = "allwinner,sunxi-sensor";
				sensor0_mname = "ov5640";
				sensor0_twi_cci_id = <2>;
				sensor0_twi_addr = <0x78>;
				sensor0_mclk_id = <0>;
				sensor0_pos = "rear";
				sensor0_isp_used = <0>;
				sensor0_fmt = <0>;
				sensor0_stby_mode = <0>;
				sensor0_vflip = <0>;
				sensor0_hflip = <0>;
				sensor0_iovdd-supply = <>;
				sensor0_iovdd_vol = <>;
				sensor0_avdd-supply = <>;
				sensor0_avdd_vol = <>;
				sensor0_dvdd-supply = <>;
				sensor0_dvdd_vol = <>;
				sensor0_power_en = <>;
				sensor0_reset = <&pio PE 9 GPIO_ACTIVE_LOW>;
				sensor0_pwdn = <&pio PE 8 GPIO_ACTIVE_LOW>;
				sensor0_sm_vs = <>;
				flash_handle = <&flash0>;
				act_handle = <&actuator0>;
				device_id = <0>;
				status	= "okay";
			};

			sensor1: sensor@5809480 {
				reg = <0x0 0x05809480 0x0 0x10>;
				device_type = "sensor1";
				compatible = "allwinner,sunxi-sensor";
				sensor1_mname = "ov5647";
				sensor1_twi_cci_id = <3>;
				sensor1_twi_addr = <0x6c>;
				sensor1_mclk_id = <1>;
				sensor1_pos = "front";
				sensor1_isp_used = <0>;
				sensor1_fmt = <0>;
				sensor1_stby_mode = <0>;
				sensor1_vflip = <0>;
				sensor1_hflip = <0>;
				sensor1_iovdd-supply = <>;
				sensor1_iovdd_vol = <>;
				sensor1_avdd-supply = <>;
				sensor1_avdd_vol = <>;
				sensor1_dvdd-supply = <>;
				sensor1_dvdd_vol = <>;
				sensor1_power_en = <>;
				sensor1_reset = <&pio PE 7 GPIO_ACTIVE_LOW>;
				sensor1_pwdn = <&pio PE 6 GPIO_ACTIVE_LOW>;
				sensor1_sm_vs = <>;
				flash_handle = <>;
				act_handle = <>;
				device_id = <1>;
				status	= "okay";
			};

			vinc0: vinc@5809000 {
				compatible = "allwinner,sunxi-vin-core";
				device_type = "vinc0";
				reg = <0x0 0x05809000 0x0 0x200>;
				interrupts-extended = <&plic0 111 IRQ_TYPE_LEVEL_HIGH>;
				vinc0_csi_sel = <0>;
				vinc0_mipi_sel = <0xff>;
				vinc0_isp_sel = <0>;
				vinc0_tdm_rx_sel = <0xff>;
				vinc0_rear_sensor_sel = <0>;
				vinc0_front_sensor_sel = <0>;
				vinc0_sensor_list = <0>;
				device_id = <0>;
				/* iommus = <&mmu_aw 1 1>; */
				status = "okay";
			};

			vinc1: vinc@5809200 {
				device_type = "vinc1";
				compatible = "allwinner,sunxi-vin-core";
				reg = <0x0 0x05809200 0x0 0x200>;
				interrupts-extended = <&plic0 112 IRQ_TYPE_LEVEL_HIGH>;
				vinc1_csi_sel = <0>;
				vinc1_mipi_sel = <0xff>;
				vinc1_isp_sel = <1>;
				vinc1_tdm_rx_sel = <0xff>;
				vinc1_rear_sensor_sel = <0>;
				vinc1_front_sensor_sel = <0>;
				vinc1_sensor_list = <0>;
				device_id = <1>;
				/* iommus = <&mmu_aw 1 1>; */
				status = "okay";
			};
		};
	};
};
